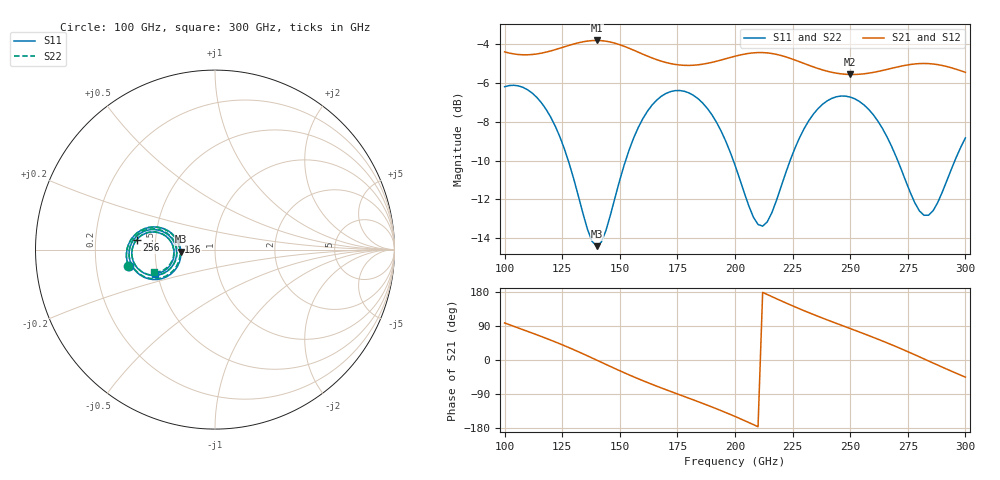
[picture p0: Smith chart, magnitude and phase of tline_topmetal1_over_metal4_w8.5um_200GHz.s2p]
#  GHZ S DB R 50
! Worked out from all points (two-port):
!   101 points, 100 GHz to 300 GHz, reference 50 ohm
!   highest |S21| = -3.80 dB at 140 GHz (marker M1); lowest = -5.6 dB at 250 GHz (marker M2)
!   |S21| within 3 dB of the highest: start of sweep to end of sweep
!   lowest |S11| = -14.4 dB at 140 GHz (marker M3), VSWR 1.47, Z = 34 - j0.773 ohm
!   |S11| at or under -10 dB: 127.6 GHz to 152.5 GHz (24.89 GHz wide, 17.8 % of centre); 199.3 GHz to 223.9 GHz (24.63 GHz wide, 11.6 % of centre); 270.6 GHz to 295.4 GHz (24.81 GHz wide, 8.77 % of centre)
!   |S22| runs from -14.2 to -6.1 dB; largest |S21 - S12| = 7.4e-14
!   S11 on the Smith chart (normalised r, x): 100 GHz: 0.34, -0.08; 136 GHz: 0.66, +0.06; 256 GHz: 0.39, +0.05; 300 GHz: 0.48, -0.15
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100  -6.19 -169.2  -4.39 97.8  -4.39 97.8  -6.17 -169.3
108  -6.22 179.1  -4.54 79.9  -4.54 79.9  -6.20 179.1
118  -7.35 165.8  -4.40 57.2  -4.40 57.2  -7.32 165.9
126  -9.41 158.4  -4.12 37.6  -4.12 37.6  -9.35 158.6
134  -12.72 162.6  -3.87 16.4  -3.87 16.4  -12.58 162.9
136  -13.55 167.7  -3.83 10.9  -3.83 10.9  -13.38 167.8
140  -14.41 -176.7  -3.80 -0.4  -3.80 -0.4  -14.21 -177.1
146  -12.77 -155.7  -3.88 -17.3  -3.88 -17.3  -12.64 -156.7
154  -9.46 -151.3  -4.20 -39.1  -4.20 -39.1  -9.42 -152.3
168  -6.68 -166.3  -4.87 -73.7  -4.87 -73.7  -6.67 -167.0
186  -7.03 170.7  -5.02 -114.6  -5.02 -114.6  -7.04 170.0
200  -10.23 160.9  -4.61 -149.0  -4.61 -149.0  -10.27 160.1
212  -13.38 -175.6  -4.42 178.4  -4.42 178.4  -13.48 -176.0
224  -9.97 -155.2  -4.72 145.5  -4.72 145.5  -10.01 -155.3
234  -7.60 -161.6  -5.16 120.2  -5.16 120.2  -7.62 -161.8
250  -6.72 179.8  -5.55 83.0  -5.55 83.0  -6.72 179.5
256  -7.13 173.0  -5.52 69.2  -5.52 69.2  -7.12 172.7
268  -9.27 163.6  -5.24 40.2  -5.24 40.2  -9.25 163.3
276  -11.62 167.3  -5.04 19.3  -5.04 19.3  -11.58 166.9
284  -12.82 -174.0  -4.99 -2.5  -4.99 -2.5  -12.76 -174.8
292  -11.02 -158.8  -5.15 -24.3  -5.15 -24.3  -11.00 -159.8
300  -8.83 -158.3  -5.44 -45.2  -5.44 -45.2  -8.84 -159.4
